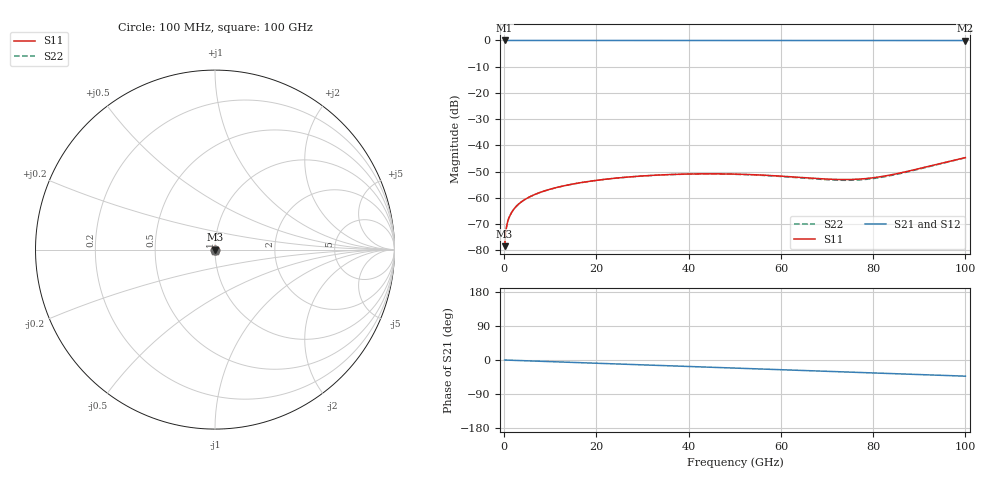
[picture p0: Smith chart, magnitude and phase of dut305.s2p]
! Touchstone file exported from HFSS 2026.1.0
!  File:  C:/ffzhzh/LocalFiles/Ansys_Project_Files/temp_train_TSV_305_1783509243_55944.aedt
!  Generated:  07:15:13 PM Jul  8, 2026
!  Design:  TSV
!  Project:  temp_train_TSV_305_1783509243_55944
! Variables:
!  h_bsmrdl = 2um
!  h_ox = 20um
!  h_rdl = 5um
!  h_sub = 85.66um
!  h_tmrdl = 5um
!  h_tsv = 85.66um
!  h_via = 3um
!  l_bsmrdl = 300um
!  l_sub = 423.04um
!  l_tmrdl = 200um
!  m_sub = 200um
!  pitch = 47.05um
!  r_tsv = 11.52um
!  s_tmrdl = 10um
!  w_bsmrdl = 18um
!  w_sub = 500um
!  w_tmrdl = 12um
!  x_tsv_center1 = 206um
!  x_tsv_center2 = 524um
!  x_tsv_center3 = 736um
!  x_tsv_center4 = 1054um
!  x_tsv_center5 = 1266um
!  x_tsv_center6 = 1584um
# GHz S MA R 50.000000
! Terminal data exported
! Port[1] = TSV1_1_T1
! Port[2] = TSV1_1_T2
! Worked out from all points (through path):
!   1000 points, 100 MHz to 100 GHz, reference 50 ohm
!   highest |S21| = 0.00 dB at 100 MHz (marker M1); lowest = 0.0 dB at 100 GHz (marker M2)
!   group delay of S21, straight-line fit = 1.18 ps
!   lowest |S11| = -78.4 dB at 100 MHz (marker M3), VSWR 1.00, Z = 50 + j0.00532 ohm
!   |S11| at or under -10 dB: start of sweep to end of sweep
!   |S22| runs from -78.4 to -44.7 dB; largest |S21 - S12| = 7.3e-15
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0.1  0.0001206 26.2  0.9999 -0.0  0.9999 -0.0  0.0001206 26.2
! Gamma 0 0 0 0
! Port Impedance 50 0 50 0
0.8  0.0003633 47.5  0.9998 -0.4  0.9998 -0.4  0.0003633 47.5
1  0.0004086 47.7  0.9997 -0.4  0.9997 -0.4  0.0004086 47.7
1.3  0.0004691 48.1  0.9997 -0.6  0.9997 -0.6  0.0004691 48.1
1.8  0.00056 48.8  0.9996 -0.8  0.9996 -0.8  0.00056 48.8
2.3  0.0006425 49.2  0.9996 -1.0  0.9996 -1.0  0.0006425 49.2
3.7  0.0008388 49.5  0.9995 -1.6  0.9995 -1.6  0.0008387 49.5
5.9  0.001088 49.8  0.9993 -2.5  0.9993 -2.5  0.001088 49.8
8.8  0.001367 49.6  0.9992 -3.8  0.9992 -3.8  0.001366 49.6
12.4  0.001661 48.7  0.999 -5.3  0.999 -5.3  0.001659 48.8
16.8  0.001968 47.6  0.9989 -7.2  0.9989 -7.2  0.001966 47.7
24.5  0.002399 44.7  0.9986 -10.4  0.9986 -10.4  0.002394 44.8
33.4  0.002731 40.0  0.9984 -14.2  0.9984 -14.2  0.002722 40.3
41.7  0.002873 34.1  0.9982 -17.7  0.9982 -17.7  0.002858 34.5
50.1  0.002845 26.0  0.998 -21.3  0.998 -21.3  0.002821 26.5
57.5  0.002683 15.9  0.9978 -24.5  0.9978 -24.5  0.002648 16.5
66.7  0.00238 -3.9  0.9977 -28.4  0.9977 -28.4  0.002323 -3.3
71.9  0.002255 -20.6  0.9976 -30.6  0.9976 -30.6  0.002185 -20.3
75.8  0.00226 -35.9  0.9975 -32.3  0.9975 -32.3  0.002181 -36.0
79.5  0.002394 -51.4  0.9974 -33.9  0.9974 -33.9  0.002311 -52.0
83.4  0.002703 -67.0  0.9973 -35.5  0.9973 -35.5  0.002622 -68.1
100  0.005868 -109.6  0.9969 -42.7  0.9969 -42.7  0.005817 -110.8
